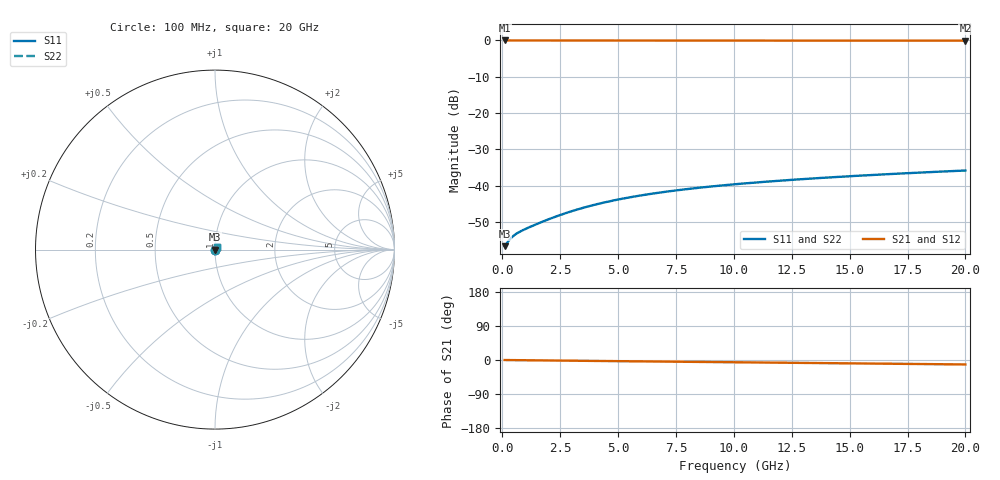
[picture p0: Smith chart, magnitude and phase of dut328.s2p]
! Touchstone file exported from HFSS 2026.1.0
!  File:  C:/ffzhzh/LocalFiles/Ansys_Project_Files/temp_train_TMRDL_328_1783003585_46388.aedt
!  Generated:  10:47:42 PM Jul  2, 2026
!  Design:  TMRDL
!  Project:  temp_train_TMRDL_328_1783003585_46388
! Variables:
!  h_bsmrdl = 2um
!  h_ox = 20um
!  h_rdl = 5um
!  h_sub = 80um
!  h_tmrdl = 4.33um
!  h_tsv = 80um
!  h_via = 3um
!  l_bsmrdl = 300um
!  l_sub = 607.53um
!  l_tmrdl = 207.53um
!  m_sub = 200um
!  pitch = 17.18um
!  r_tsv = 6um
!  s_tmrdl = 10um
!  w_bsmrdl = 18um
!  w_sub = 500um
!  w_tmrdl = 13.08um
!  x_tsv_center1 = 214.07um
!  x_tsv_center2 = 532.07um
!  x_tsv_center3 = 752.68um
!  x_tsv_center4 = 1070.68um
!  x_tsv_center5 = 1291.29um
!  x_tsv_center6 = 1609.29um
# GHz S MA R 50.000000
! Terminal data exported
! Port[1] = TM_RDL1_1_T1
! Port[2] = TM_RDL1_1_T2
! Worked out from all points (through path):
!   200 points, 100 MHz to 20 GHz, reference 50 ohm
!   highest |S21| = -0.01 dB at 100 MHz (marker M1); lowest = -0.1 dB at 20 GHz (marker M2)
!   group delay of S21, straight-line fit = 1.62 ps
!   lowest |S11| = -56.6 dB at 100 MHz (marker M3), VSWR 1.00, Z = 50.1 + j0.0277 ohm
!   |S11| at or under -10 dB: start of sweep to end of sweep
!   |S22| runs from -56.6 to -35.8 dB; largest |S21 - S12| = 4.9e-15
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0.1  0.001475 10.8  0.9986 -0.1  0.9986 -0.1  0.001475 10.8
! Gamma 0 0 0 0
! Port Impedance 50 0 50 0
0.3  0.00179 22.8  0.9984 -0.2  0.9984 -0.2  0.00179 22.8
0.4  0.001941 25.4  0.9983 -0.3  0.9983 -0.3  0.001941 25.4
0.5  0.00207 27.3  0.9982 -0.3  0.9982 -0.3  0.00207 27.3
0.6  0.002181 28.9  0.9981 -0.4  0.9981 -0.4  0.002181 28.9
0.7  0.00228 30.4  0.998 -0.4  0.998 -0.4  0.00228 30.4
0.9  0.002459 33.3  0.998 -0.6  0.998 -0.6  0.002459 33.3
1.5  0.002984 41.1  0.9978 -0.9  0.9978 -0.9  0.002984 41.1
2.2  0.003657 47.4  0.9976 -1.4  0.9976 -1.4  0.003657 47.4
2.8  0.004267 50.8  0.9974 -1.7  0.9974 -1.7  0.004267 50.8
3.5  0.004985 53.0  0.9971 -2.1  0.9971 -2.1  0.004985 53.0
4.2  0.005691 54.2  0.9969 -2.6  0.9969 -2.6  0.005691 54.2
5  0.006466 54.7  0.9965 -3.0  0.9965 -3.0  0.006466 54.7
5.9  0.007291 54.8  0.9962 -3.6  0.9962 -3.6  0.007291 54.8
6.8  0.008064 54.5  0.9958 -4.1  0.9958 -4.1  0.008064 54.5
7.5  0.008631 54.2  0.9955 -4.5  0.9955 -4.5  0.008631 54.2
8.3  0.009247 53.8  0.9952 -5.0  0.9952 -5.0  0.009247 53.8
10.1  0.01053 52.9  0.9945 -6.0  0.9945 -6.0  0.01053 52.9
11.7  0.01157 52.1  0.994 -7.0  0.994 -7.0  0.01157 52.1
13.4  0.0126 51.3  0.9935 -7.9  0.9935 -7.9  0.0126 51.3
16.7  0.01447 49.9  0.9926 -9.8  0.9926 -9.8  0.01447 49.9
20  0.01621 48.5  0.9918 -11.7  0.9918 -11.7  0.01621 48.5
